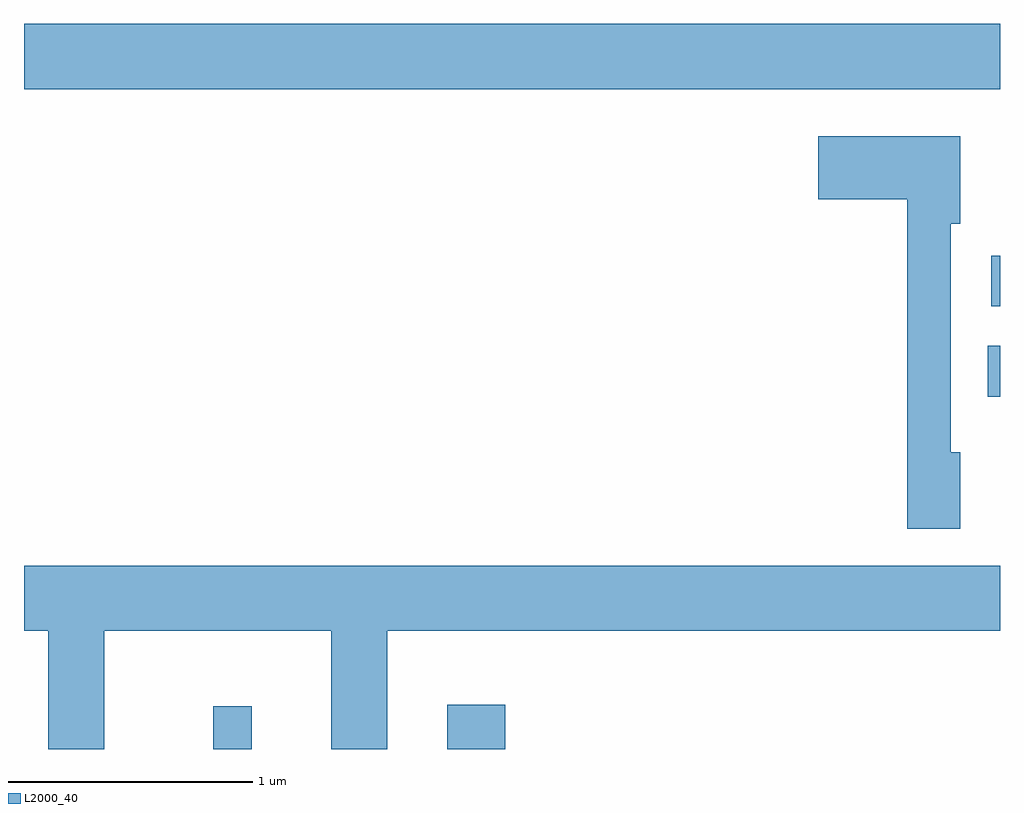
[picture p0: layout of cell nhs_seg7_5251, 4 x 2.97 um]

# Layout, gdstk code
import gdstk
lib = gdstk.Library(unit=1e-6, precision=1e-09)
def R(c, l, rs):  # rectangles x0, y0, x1, y1
    for r in rs: c.add(gdstk.rectangle(r[:2], r[2:], *l))
def P(c, l, *ps):  # polygons
    for p in ps: c.add(gdstk.Polygon(p, *l))
L2000_40 = (2000, 40)

nhs_seg7_5251 = lib.new_cell('nhs_seg7_5251')
R(nhs_seg7_5251, L2000_40, [(346.386,1738.252,346.544,1738.428), (347.346,1738.252,347.584,1738.434), (349.561,1739.696,349.611,1739.904), (349.576,1740.066,349.611,1740.274), (345.611,1740.956,349.611,1741.224)])
P(nhs_seg7_5251, L2000_40, [(349.449,1739.469),(349.409,1739.469),(349.409,1740.406),(349.449,1740.406),(349.449,1740.764),(348.866,1740.764),(348.866,1740.506),(349.231,1740.506),(349.231,1739.156),(349.449,1739.156)],
  [(345.939,1738.736),(346.871,1738.736),(346.871,1738.252),(347.099,1738.252),(347.099,1738.736),(349.611,1738.736),(349.611,1739.004),(345.611,1739.004),(345.611,1738.736),(345.711,1738.736),(345.711,1738.252),(345.939,1738.252)])

lib.write_gds('nhs_seg7_5251.gds')
